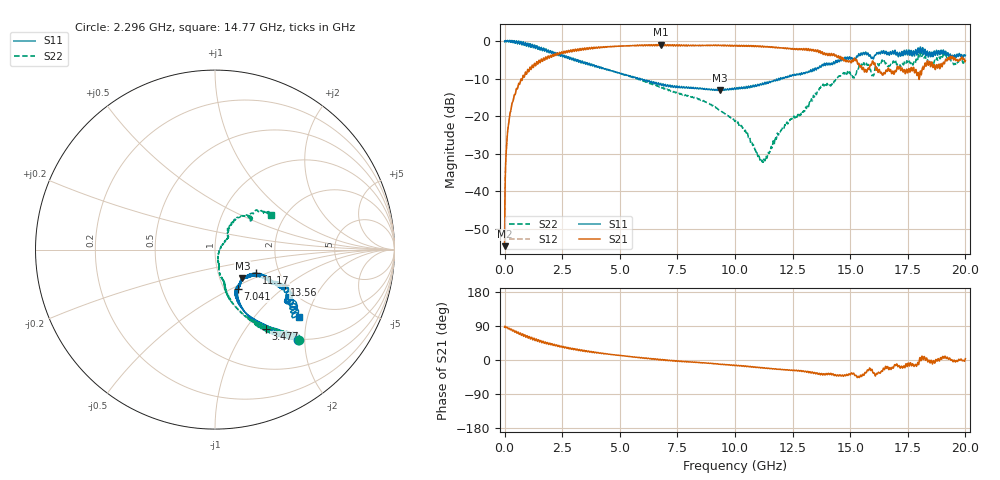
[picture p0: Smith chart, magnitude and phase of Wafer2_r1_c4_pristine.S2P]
!  2-Port S-parameters saved by WinCal
! VAR MeasName=S-Parameters (CALIBRATED_DATA) read from VNA (P5004A)
! VAR MeasDate=24/04/2024 15:29:49
! VAR NAME=Wafer2_r1_c4_pristine
! VAR FILENAME=Wafer2_r1_c4_pristine.S2P
! VAR DATE=24/04/2024 15:29:49
! VAR PHYS_PORTS=1,2
! VAR ObjTypeName=DATASET
! VAR IndexType=Frequency
# Hz S MA R 50
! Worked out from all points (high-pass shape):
!   4999 points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, 4.01 MHz to 20 GHz, reference 50 ohm
!   highest |S21| = -0.94 dB at 6.777 GHz (marker M1); lowest = -54.6 dB at 4.01 MHz (marker M2)
!   |S21| within 3 dB of the highest: 2.147 GHz to 14.32 GHz (12.17 GHz wide, 148 % of centre); 14.34038 GHz to 14.40194 GHz (61.55 MHz wide, 0.428 % of centre)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
!   lowest |S11| = -13.2 dB at 9.33 GHz (marker M3), VSWR 1.56, Z = 64.1 - j21.2 ohm
!   |S11| at or under -10 dB: 5.791 GHz to 5.834 GHz (42.83 MHz wide, 0.737 % of centre); 5.877 GHz to 11.89 GHz (6.013 GHz wide, 67.7 % of centre); 11.91 GHz to 11.97 GHz (66.35 MHz wide, 0.556 % of centre)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
!   |S22| runs from -32.3 to 0.1 dB; largest |S21 - S12| = 0.039
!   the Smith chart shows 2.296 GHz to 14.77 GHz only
!   S11 on the Smith chart (normalised r, x): 2.296 GHz: 0.99, -1.85; 3.477 GHz: 1.02, -1.24; 7.041 GHz: 1.15, -0.54; 11.17 GHz: 1.52, -0.43; 13.56 GHz: 1.96, -0.96; 14.77 GHz: 1.50, -1.79
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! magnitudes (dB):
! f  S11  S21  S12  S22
! 4.01 MHz  -0.1  -54.6  -54.5  -0.1
! 108 MHz  -0.1  -26.2  -26.2  -0.1
! 148 MHz  0.1  -23.3  -23.4  0.1
! 448.1 MHz  -0.4  -14.3  -14.4  -0.4
! 1.14 GHz  -1.5  -7.6  -7.5  -1.5
! 2.296 GHz  -3.3  -3.2  -3.2  -3.3
! 3.341 GHz  -5.6  -2.3  -2.3  -5.7
! 3.477 GHz  -5.6  -1.9  -1.9  -5.6
! 6.673 GHz  -11.2  -0.9  -1.0  -12.1
! 6.777 GHz  -11.3  -0.9  -1.0  -12.3
! 7.041 GHz  -11.9  -1.2  -1.1  -12.8
! 9.33 GHz  -13.2  -1.2  -1.2  -18.4
! 10 GHz  -12.6  -1.2  -1.3  -21.4
! 11.17 GHz  -11.5  -1.5  -1.5  -31.9
! 12.09 GHz  -9.7  -1.8  -1.9  -23.0
! 13.33 GHz  -8.1  -2.6  -2.4  -15.6
! 13.56 GHz  -7.2  -2.6  -2.8  -13.7
! 14.77 GHz  -4.4  -4.9  -5.0  -8.7
! 16.67 GHz  -3.4  -7.4  -7.5  -6.6
! 17.99 GHz  -3.2  -10.2  -9.6  -4.0
! 18.34 GHz  -2.7  -5.5  -5.8  -5.2
! 20 GHz  -3.8  -5.2  -5.5  -4.9
